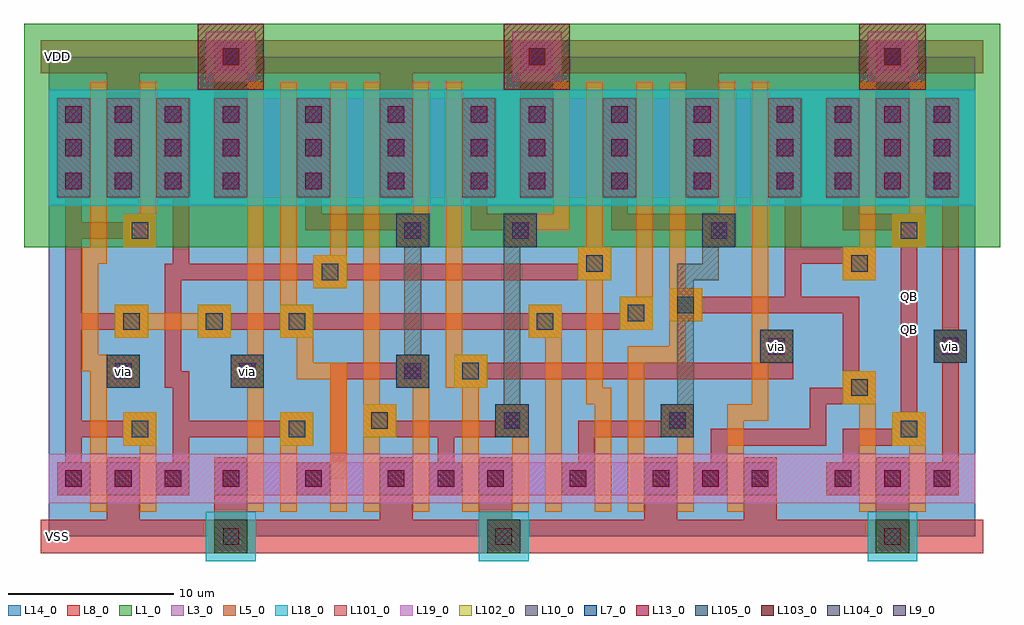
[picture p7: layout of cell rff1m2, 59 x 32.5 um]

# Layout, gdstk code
import gdstk
lib = gdstk.Library(unit=1e-6, precision=1e-09)
def R(c, l, rs):  # rectangles x0, y0, x1, y1
    for r in rs: c.add(gdstk.rectangle(r[:2], r[2:], *l))
L1_0 = (1, 0)
L3_0 = (3, 0)
L5_0 = (5, 0)
L7_0 = (7, 0)
L8_0 = (8, 0)
L9_0 = (9, 0)
L10_0 = (10, 0)
L13_0 = (13, 0)
L14_0 = (14, 0)
L18_0 = (18, 0)
L19_0 = (19, 0)
L101_0 = (101, 0)
L102_0 = (102, 0)
L103_0 = (103, 0)
L104_0 = (104, 0)
L105_0 = (105, 0)

pcont = lib.new_cell('pcont')
R(pcont, L5_0, [(-1,-1,1,1)])
R(pcont, L7_0, [(-0.5,-0.5,0.5,0.5)])
R(pcont, L8_0, [(-1,-1,1,1)])
R(pcont, L102_0, [(-1,-1,1,1)])
pcont.add(gdstk.Label('pcont', (0,0), layer=13, texttype=0))

dcont = lib.new_cell('dcont')
R(dcont, L3_0, [(-1,-1,1,1)])
R(dcont, L7_0, [(-0.5,-0.5,0.5,0.5)])
R(dcont, L8_0, [(-1,-1,1,1)])
R(dcont, L13_0, [(-0.5,-0.5,0.5,0.5)])
R(dcont, L101_0, [(-1,-1,1,1)])
dcont.add(gdstk.Label('dcont', (0,0), layer=13, texttype=0))

via = lib.new_cell('Via')
R(via, L8_0, [(-1,-1,1,1)])
R(via, L9_0, [(-0.5,-0.5,0.5,0.5)])
R(via, L10_0, [(-1,-1,1,1)])
R(via, L13_0, [(-0.5,-0.5,0.5,0.5)])
R(via, L105_0, [(-1,-1,1,1)])
via.add(gdstk.Label('via', (0,0), layer=13, texttype=0))

nsubcont = lib.new_cell('nsubcont')
R(nsubcont, L1_0, [(-2,-2,2,2)])
R(nsubcont, L19_0, [(-1.5,-1.5,1.5,1.5)])
R(nsubcont, L103_0, [(-2,-2,2,2)])
nsubcont.add(gdstk.Reference(dcont, (0,0)))
nsubcont.add(gdstk.Label('NScont', (0,0), layer=13, texttype=0))

psubcont = lib.new_cell('psubcont')
R(psubcont, L18_0, [(-1.5,-1.5,1.5,1.5)])
R(psubcont, L104_0, [(-1,-1,1,1)])
psubcont.add(gdstk.Reference(dcont, (0,0)))
psubcont.add(gdstk.Label('PScon', (0,0), layer=13, texttype=0))

rff1m2 = lib.new_cell('rff1m2')
R(rff1m2, L1_0, [(-1.5,17.5,57.5,31)])
R(rff1m2, L3_0, [(0.5,2.5,8.5,4.5), (10,2.5,43.9,4.5), (47,2.5,55,4.5), (0.5,20.5,8.5,26.5), (10,20.5,27,26.5), (28.5,20.5,45.5,26.5), (47,20.5,55,26.5)])
R(rff1m2, L8_0, [(-0.5,-1,56.5,1), (53,2.5,55,4.5), (3.5,9,5.5,11), (11,9,13,11), (43,10.5,45,12.5), (53.5,10.5,55.5,12.5), (-0.5,28,56.5,30)])
R(rff1m2, L10_0, [(3.5,9,5.5,11), (11,9,13,11), (43,10.5,45,12.5), (53.5,10.5,55.5,12.5)])
R(rff1m2, L14_0, [(0,0,56,29)])
R(rff1m2, L18_0, [(0,20,56,27)])
R(rff1m2, L19_0, [(0,2,56,5)])
R(rff1m2, L105_0, [(3.5,9,5.5,11), (11,9,13,11), (43,10.5,45,12.5), (53.5,10.5,55.5,12.5)])
rff1m2.add(gdstk.FlexPath([(1.5,26),(1.5,3.6)], 1, ends="extended", simple_path=True, layer=8, datatype=0))  # L8_0
rff1m2.add(gdstk.FlexPath([(1.5,22.3),(1.5,25.5)], 1.4, ends="extended", simple_path=True, layer=8, datatype=0))  # L8_0
rff1m2.add(gdstk.FlexPath([(5.4,13),(1.5,13)], 1, ends="extended", simple_path=True, layer=8, datatype=0))  # L8_0
rff1m2.add(gdstk.FlexPath([(5.6,18.5),(1.5,18.5)], 1, ends="extended", simple_path=True, layer=8, datatype=0))  # L8_0
rff1m2.add(gdstk.FlexPath([(5.9,6.5),(1.5,6.5)], 1, ends="extended", simple_path=True, layer=8, datatype=0))  # L8_0
rff1m2.add(gdstk.FlexPath([(4.5,22.6),(4.5,28.5)], 2, ends="extended", simple_path=True, layer=8, datatype=0))  # L8_0
rff1m2.add(gdstk.FlexPath([(4.5,1),(4.5,3.8)], 2, ends="extended", simple_path=True, layer=8, datatype=0))  # L8_0
rff1m2.add(gdstk.FlexPath([(8,3.6),(8,9.5),(7.5,9.5),(7.5,16),(8,16),(8,26)], 1, ends="extended", simple_path=True, layer=8, datatype=0))  # L8_0
rff1m2.add(gdstk.FlexPath([(11,1),(11,3.8)], 2, ends="extended", simple_path=True, layer=8, datatype=0))  # L8_0
rff1m2.add(gdstk.FlexPath([(11,22.6),(11,28.5)], 2, ends="extended", simple_path=True, layer=8, datatype=0))  # L8_0
rff1m2.add(gdstk.FlexPath([(14.8,6.5),(8.3,6.5)], 1, ends="extended", simple_path=True, layer=8, datatype=0))  # L8_0
rff1m2.add(gdstk.FlexPath([(16,22.3),(16,25.5)], 1.4, ends="extended", simple_path=True, layer=8, datatype=0))  # L8_0
rff1m2.add(gdstk.FlexPath([(16,22.6),(16,19),(22.3,19)], 1, ends="extended", simple_path=True, layer=8, datatype=0))  # L8_0
rff1m2.add(gdstk.FlexPath([(16.3,3.8),(16.3,4),(17.5,4),(17.5,10),(22.4,10)], 1, ends="extended", simple_path=True, layer=8, datatype=0))  # L8_0
rff1m2.add(gdstk.FlexPath([(7.5,16),(33.3,16)], 1, ends="extended", simple_path=True, layer=8, datatype=0))  # L8_0
rff1m2.add(gdstk.FlexPath([(21,22.6),(21,28.5)], 2, ends="extended", simple_path=True, layer=8, datatype=0))  # L8_0
rff1m2.add(gdstk.FlexPath([(21,1),(21,3.8)], 2, ends="extended", simple_path=True, layer=8, datatype=0))  # L8_0
rff1m2.add(gdstk.FlexPath([(35.8,13),(10.3,13)], 1, ends="extended", simple_path=True, layer=8, datatype=0))  # L8_0
rff1m2.add(gdstk.FlexPath([(28.3,6.5),(19.9,6.5)], 1, ends="extended", simple_path=True, layer=8, datatype=0))  # L8_0
rff1m2.add(gdstk.FlexPath([(24,3.8),(24,6.5)], 1, ends="extended", simple_path=True, layer=8, datatype=0))  # L8_0
rff1m2.add(gdstk.FlexPath([(26,22.3),(26,25.5)], 1.4, ends="extended", simple_path=True, layer=8, datatype=0))  # L8_0
rff1m2.add(gdstk.FlexPath([(27,1),(27,3.8)], 2, ends="extended", simple_path=True, layer=8, datatype=0))  # L8_0
rff1m2.add(gdstk.FlexPath([(26,22.6),(26,19),(28.3,19)], 1, ends="extended", simple_path=True, layer=8, datatype=0))  # L8_0
rff1m2.add(gdstk.FlexPath([(29.5,22.6),(29.5,28.5)], 2, ends="extended", simple_path=True, layer=8, datatype=0))  # L8_0
rff1m2.add(gdstk.FlexPath([(25.4,10),(44.5,10)], 1, ends="extended", simple_path=True, layer=8, datatype=0))  # L8_0
rff1m2.add(gdstk.FlexPath([(34.5,22.3),(34.5,25.5)], 1.4, ends="extended", simple_path=True, layer=8, datatype=0))  # L8_0
rff1m2.add(gdstk.FlexPath([(32.5,3.8),(32.5,6.5),(37.8,6.5)], 1, ends="extended", simple_path=True, layer=8, datatype=0))  # L8_0
rff1m2.add(gdstk.FlexPath([(37,1),(37,3.8)], 2, ends="extended", simple_path=True, layer=8, datatype=0))  # L8_0
rff1m2.add(gdstk.FlexPath([(34.5,22.6),(34.5,19),(41,19)], 1, ends="extended", simple_path=True, layer=8, datatype=0))  # L8_0
rff1m2.add(gdstk.FlexPath([(39.5,22.6),(39.5,28.5)], 2, ends="extended", simple_path=True, layer=8, datatype=0))  # L8_0
rff1m2.add(gdstk.FlexPath([(38.5,14),(44.9,14)], 1, ends="extended", simple_path=True, layer=8, datatype=0))  # L8_0
rff1m2.add(gdstk.FlexPath([(43,1),(43,3.8)], 2, ends="extended", simple_path=True, layer=8, datatype=0))  # L8_0
rff1m2.add(gdstk.FlexPath([(44.5,22.3),(44.5,25.5)], 1.4, ends="extended", simple_path=True, layer=8, datatype=0))  # L8_0
rff1m2.add(gdstk.FlexPath([(40.5,3.8),(40.5,6),(46.5,6),(46.5,8.5),(48.5,8.5),(48.5,14),(45,14),(45,21.5)], 1, ends="extended", simple_path=True, layer=8, datatype=0))  # L8_0
rff1m2.add(gdstk.FlexPath([(49.3,17),(45,17)], 1, ends="extended", simple_path=True, layer=8, datatype=0))  # L8_0
rff1m2.add(gdstk.FlexPath([(48,22.3),(48,25.5)], 1.4, ends="extended", simple_path=True, layer=8, datatype=0))  # L8_0
rff1m2.add(gdstk.FlexPath([(48.5,26),(48.5,19),(52,19),(52,6),(48.5,6),(48.5,3.6)], 1, ends="extended", simple_path=True, layer=8, datatype=0))  # L8_0
rff1m2.add(gdstk.FlexPath([(51,1),(51,3.8)], 2, ends="extended", simple_path=True, layer=8, datatype=0))  # L8_0
rff1m2.add(gdstk.FlexPath([(51,22.6),(51,28.5)], 2, ends="extended", simple_path=True, layer=8, datatype=0))  # L8_0
rff1m2.add(gdstk.FlexPath([(54,22.3),(54,25.5)], 1.4, ends="extended", simple_path=True, layer=8, datatype=0))  # L8_0
rff1m2.add(gdstk.FlexPath([(54.5,3.3),(54.5,26)], 1, ends="extended", simple_path=True, layer=8, datatype=0))  # L8_0
rff1m2.add(gdstk.FlexPath([(6,2),(6,7)], 1, ends="extended", simple_path=True, layer=5, datatype=0))  # L5_0
rff1m2.add(gdstk.FlexPath([(6,18.3),(6,27)], 1, ends="extended", simple_path=True, layer=5, datatype=0))  # L5_0
rff1m2.add(gdstk.FlexPath([(10,13),(5.1,13)], 1, ends="extended", simple_path=True, layer=5, datatype=0))  # L5_0
rff1m2.add(gdstk.FlexPath([(12.5,27),(12.5,2)], 1, ends="extended", simple_path=True, layer=5, datatype=0))  # L5_0
rff1m2.add(gdstk.FlexPath([(14.5,2),(14.5,6.8)], 1, ends="extended", simple_path=True, layer=5, datatype=0))  # L5_0
rff1m2.add(gdstk.FlexPath([(17.5,2),(17.5,10),(15.5,10),(15.5,13),(14.5,13),(14.5,27)], 1, ends="extended", simple_path=True, layer=5, datatype=0))  # L5_0
rff1m2.add(gdstk.FlexPath([(17.5,15.8),(17.5,27)], 1, ends="extended", simple_path=True, layer=5, datatype=0))  # L5_0
rff1m2.add(gdstk.FlexPath([(19.5,27),(19.5,2)], 1, ends="extended", simple_path=True, layer=5, datatype=0))  # L5_0
rff1m2.add(gdstk.FlexPath([(22.5,2),(22.5,10)], 1, ends="extended", simple_path=True, layer=5, datatype=0))  # L5_0
rff1m2.add(gdstk.FlexPath([(22.5,18.7),(22.5,27)], 1, ends="extended", simple_path=True, layer=5, datatype=0))  # L5_0
rff1m2.add(gdstk.FlexPath([(24.5,9.5),(24.5,27)], 1, ends="extended", simple_path=True, layer=5, datatype=0))  # L5_0
rff1m2.add(gdstk.FlexPath([(25.5,2),(25.5,10)], 1, ends="extended", simple_path=True, layer=5, datatype=0))  # L5_0
rff1m2.add(gdstk.FlexPath([(28.5,2),(28.5,7.3),(27.8,7.3)], 1, ends="extended", simple_path=True, layer=5, datatype=0))  # L5_0
rff1m2.add(gdstk.FlexPath([(28.3,19),(31,19),(31,27)], 1, ends="extended", simple_path=True, layer=5, datatype=0))  # L5_0
rff1m2.add(gdstk.FlexPath([(30.5,2),(30.5,12.8)], 1, ends="extended", simple_path=True, layer=5, datatype=0))  # L5_0
rff1m2.add(gdstk.FlexPath([(33.5,2),(33.5,8.5),(33,8.5),(33,27)], 1, ends="extended", simple_path=True, layer=5, datatype=0))  # L5_0
rff1m2.add(gdstk.FlexPath([(36,27),(36,13.7)], 1, ends="extended", simple_path=True, layer=5, datatype=0))  # L5_0
rff1m2.add(gdstk.FlexPath([(35.5,2),(35.5,11),(38,11),(38,27)], 1, ends="extended", simple_path=True, layer=5, datatype=0))  # L5_0
rff1m2.add(gdstk.FlexPath([(38.5,6.8),(38.5,2)], 1, ends="extended", simple_path=True, layer=5, datatype=0))  # L5_0
rff1m2.add(gdstk.FlexPath([(41,27),(41,18.7)], 1, ends="extended", simple_path=True, layer=5, datatype=0))  # L5_0
rff1m2.add(gdstk.FlexPath([(41.5,2),(41.5,7.5),(43,7.5),(43,27)], 1, ends="extended", simple_path=True, layer=5, datatype=0))  # L5_0
rff1m2.add(gdstk.FlexPath([(49.5,2),(49.5,8.9)], 1, ends="extended", simple_path=True, layer=5, datatype=0))  # L5_0
rff1m2.add(gdstk.FlexPath([(49.5,16.7),(49.5,27)], 1, ends="extended", simple_path=True, layer=5, datatype=0))  # L5_0
rff1m2.add(gdstk.FlexPath([(52.5,2),(52.5,6.7)], 1, ends="extended", simple_path=True, layer=5, datatype=0))  # L5_0
rff1m2.add(gdstk.FlexPath([(52.5,18.1),(52.5,27)], 1, ends="extended", simple_path=True, layer=5, datatype=0))  # L5_0
rff1m2.add(gdstk.FlexPath([(3,27),(3,17),(2.5,17),(2.5,10.5),(3,10.5),(3,2)], 1, ends="extended", simple_path=True, layer=5, datatype=0))  # L5_0
rff1m2.add(gdstk.FlexPath([(22,10),(22,18.7)], 1, ends="extended", simple_path=True, layer=10, datatype=0))  # L10_0
rff1m2.add(gdstk.FlexPath([(28,18.6),(28,6.8)], 1, ends="extended", simple_path=True, layer=10, datatype=0))  # L10_0
rff1m2.add(gdstk.FlexPath([(40,18.6),(40,16),(38.5,16),(38.5,6.8)], 1, ends="extended", simple_path=True, layer=10, datatype=0))  # L10_0
rff1m2.add(gdstk.Reference(pcont, (40.5,18.5)))
rff1m2.add(gdstk.Reference(dcont, (40,3.5)))
rff1m2.add(gdstk.Reference(dcont, (26,25.5)))
rff1m2.add(gdstk.Reference(dcont, (21,25.5)))
rff1m2.add(gdstk.Reference(pcont, (10,13)))
rff1m2.add(gdstk.Reference(dcont, (1.5,23.5)))
rff1m2.add(gdstk.Reference(dcont, (43,3.5)))
rff1m2.add(gdstk.Reference(dcont, (51,3.5)))
rff1m2.add(gdstk.Reference(dcont, (39.5,25.5)))
rff1m2.add(gdstk.Reference(dcont, (16,21.5)))
rff1m2.add(gdstk.Reference(dcont, (16,3.5)))
rff1m2.add(gdstk.Reference(dcont, (7.5,3.5)))
rff1m2.add(gdstk.Reference(pcont, (38.5,14)))
rff1m2.add(gdstk.Reference(dcont, (26,23.5)))
rff1m2.add(gdstk.Reference(via, (54.5,11.5)))
rff1m2.add(gdstk.Reference(pcont, (5.5,6.5)))
rff1m2.add(gdstk.Reference(dcont, (1.5,3.5)))
rff1m2.add(gdstk.Reference(via, (28.5,18.5)))
rff1m2.add(gdstk.Reference(dcont, (48,3.5)))
rff1m2.add(gdstk.Reference(dcont, (16,23.5)))
rff1m2.add(gdstk.Reference(dcont, (4.5,3.5)))
rff1m2.add(gdstk.Reference(dcont, (51,21.5)))
rff1m2.add(gdstk.Reference(pcont, (49,16.5)))
rff1m2.add(gdstk.Reference(dcont, (7.5,23.5)))
rff1m2.add(gdstk.Reference(pcont, (12,10)))
rff1m2.add(gdstk.Reference(pcont, (5,13)))
rff1m2.add(gdstk.Reference(pcont, (22,10)))
rff1m2.add(gdstk.Reference(dcont, (54,21.5)))
rff1m2.add(gdstk.Reference(dcont, (39.5,21.5)))
rff1m2.add(gdstk.Reference(dcont, (29.5,25.5)))
rff1m2.add(gdstk.Reference(dcont, (54,3.5)))
rff1m2.add(gdstk.Reference(dcont, (48,25.5)))
rff1m2.add(gdstk.Reference(dcont, (34.5,23.5)))
rff1m2.add(gdstk.Reference(dcont, (51,25.5)))
rff1m2.add(gdstk.Reference(pcont, (17,16)))
rff1m2.add(gdstk.Reference(dcont, (34.5,25.5)))
rff1m2.add(gdstk.Reference(via, (28,7)))
rff1m2.add(gdstk.Reference(via, (12,10)))
rff1m2.add(gdstk.Reference(dcont, (4.5,25.5)))
rff1m2.add(gdstk.Reference(dcont, (16,25.5)))
rff1m2.add(gdstk.Reference(dcont, (44.5,21.5)))
rff1m2.add(gdstk.Reference(pcont, (5.5,18.5)))
rff1m2.add(gdstk.Reference(pcont, (38,7)))
rff1m2.add(gdstk.Reference(dcont, (11,21.5)))
rff1m2.add(gdstk.Reference(pcont, (4.5,10)))
rff1m2.add(gdstk.Reference(pcont, (28.5,18.5)))
rff1m2.add(gdstk.Reference(nsubcont, (11,29)))
rff1m2.add(gdstk.Reference(pcont, (15,13)))
rff1m2.add(gdstk.Reference(dcont, (7.5,25.5)))
rff1m2.add(gdstk.Reference(pcont, (20,7)))
rff1m2.add(gdstk.Reference(dcont, (44.5,23.5)))
rff1m2.add(gdstk.Reference(dcont, (48,21.5)))
rff1m2.add(gdstk.Reference(pcont, (52,18.5)))
rff1m2.add(gdstk.Reference(dcont, (7.5,21.5)))
rff1m2.add(gdstk.Reference(psubcont, (27.5,0)))
rff1m2.add(gdstk.Reference(via, (22,10)))
rff1m2.add(gdstk.Reference(dcont, (54,23.5)))
rff1m2.add(gdstk.Reference(dcont, (27,3.5)))
rff1m2.add(gdstk.Reference(dcont, (51,23.5)))
rff1m2.add(gdstk.Reference(dcont, (21,21.5)))
rff1m2.add(gdstk.Reference(dcont, (54,25.5)))
rff1m2.add(gdstk.Reference(dcont, (11,3.5)))
rff1m2.add(gdstk.Reference(dcont, (4.5,23.5)))
rff1m2.add(gdstk.Reference(dcont, (44.5,25.5)))
rff1m2.add(gdstk.Reference(dcont, (26,21.5)))
rff1m2.add(gdstk.Reference(nsubcont, (51,29)))
rff1m2.add(gdstk.Reference(dcont, (21,23.5)))
rff1m2.add(gdstk.Reference(dcont, (4.5,21.5)))
rff1m2.add(gdstk.Reference(dcont, (34.5,21.5)))
rff1m2.add(gdstk.Reference(via, (44,11.5)))
rff1m2.add(gdstk.Reference(pcont, (33,16.5)))
rff1m2.add(gdstk.Reference(via, (4.5,10)))
rff1m2.add(gdstk.Reference(dcont, (39.5,23.5)))
rff1m2.add(gdstk.Reference(via, (38,7)))
rff1m2.add(gdstk.Reference(pcont, (52,6.5)))
rff1m2.add(gdstk.Reference(pcont, (49,9)))
rff1m2.add(gdstk.Reference(dcont, (11,25.5)))
rff1m2.add(gdstk.Reference(pcont, (30,13)))
rff1m2.add(gdstk.Reference(via, (40.5,18.5)))
rff1m2.add(gdstk.Reference(pcont, (35.5,13.5)))
rff1m2.add(gdstk.Reference(psubcont, (11,0)))
rff1m2.add(gdstk.Reference(pcont, (15,6.5)))
rff1m2.add(gdstk.Reference(pcont, (44,11.5)))
rff1m2.add(gdstk.Reference(via, (22,18.5)))
rff1m2.add(gdstk.Reference(pcont, (22,18.5)))
rff1m2.add(gdstk.Reference(dcont, (24,3.5)))
rff1m2.add(gdstk.Reference(nsubcont, (29.5,29)))
rff1m2.add(gdstk.Reference(dcont, (32,3.5)))
rff1m2.add(gdstk.Reference(psubcont, (51,0)))
rff1m2.add(gdstk.Reference(dcont, (37,3.5)))
rff1m2.add(gdstk.Reference(dcont, (1.5,21.5)))
rff1m2.add(gdstk.Reference(dcont, (21,3.5)))
rff1m2.add(gdstk.Reference(pcont, (25.5,10)))
rff1m2.add(gdstk.Reference(dcont, (48,23.5)))
rff1m2.add(gdstk.Reference(dcont, (29.5,21.5)))
rff1m2.add(gdstk.Reference(dcont, (11,23.5)))
rff1m2.add(gdstk.Reference(dcont, (29.5,23.5)))
rff1m2.add(gdstk.Reference(dcont, (1.5,25.5)))
rff1m2.add(gdstk.Reference(pcont, (28,7)))
rff1m2.add(gdstk.Label('VDD', (0.5,29), layer=8, texttype=0))
rff1m2.add(gdstk.Label('VSS', (0.5,0), layer=8, texttype=0))
rff1m2.add(gdstk.Label('QB', (52,12.5), layer=8, texttype=0))
rff1m2.add(gdstk.Label('QB', (52,14.5), layer=8, texttype=0))
rff1m2.add(gdstk.Label('via', (54.5,11.5), layer=13, texttype=0))
rff1m2.add(gdstk.Label('via', (44,11.5), layer=13, texttype=0))
rff1m2.add(gdstk.Label('via', (12,10), layer=13, texttype=0))
rff1m2.add(gdstk.Label('via', (4.5,10), layer=13, texttype=0))
rff1m2.add(gdstk.Label('CK', (4.5,10), layer=10, texttype=0))
rff1m2.add(gdstk.Label('D', (12,10), layer=10, texttype=0))
rff1m2.add(gdstk.Label('R', (44,11.5), layer=10, texttype=0))
rff1m2.add(gdstk.Label('Q', (54.5,11.5), layer=10, texttype=0))

lib.write_gds('rff1m2.gds')
